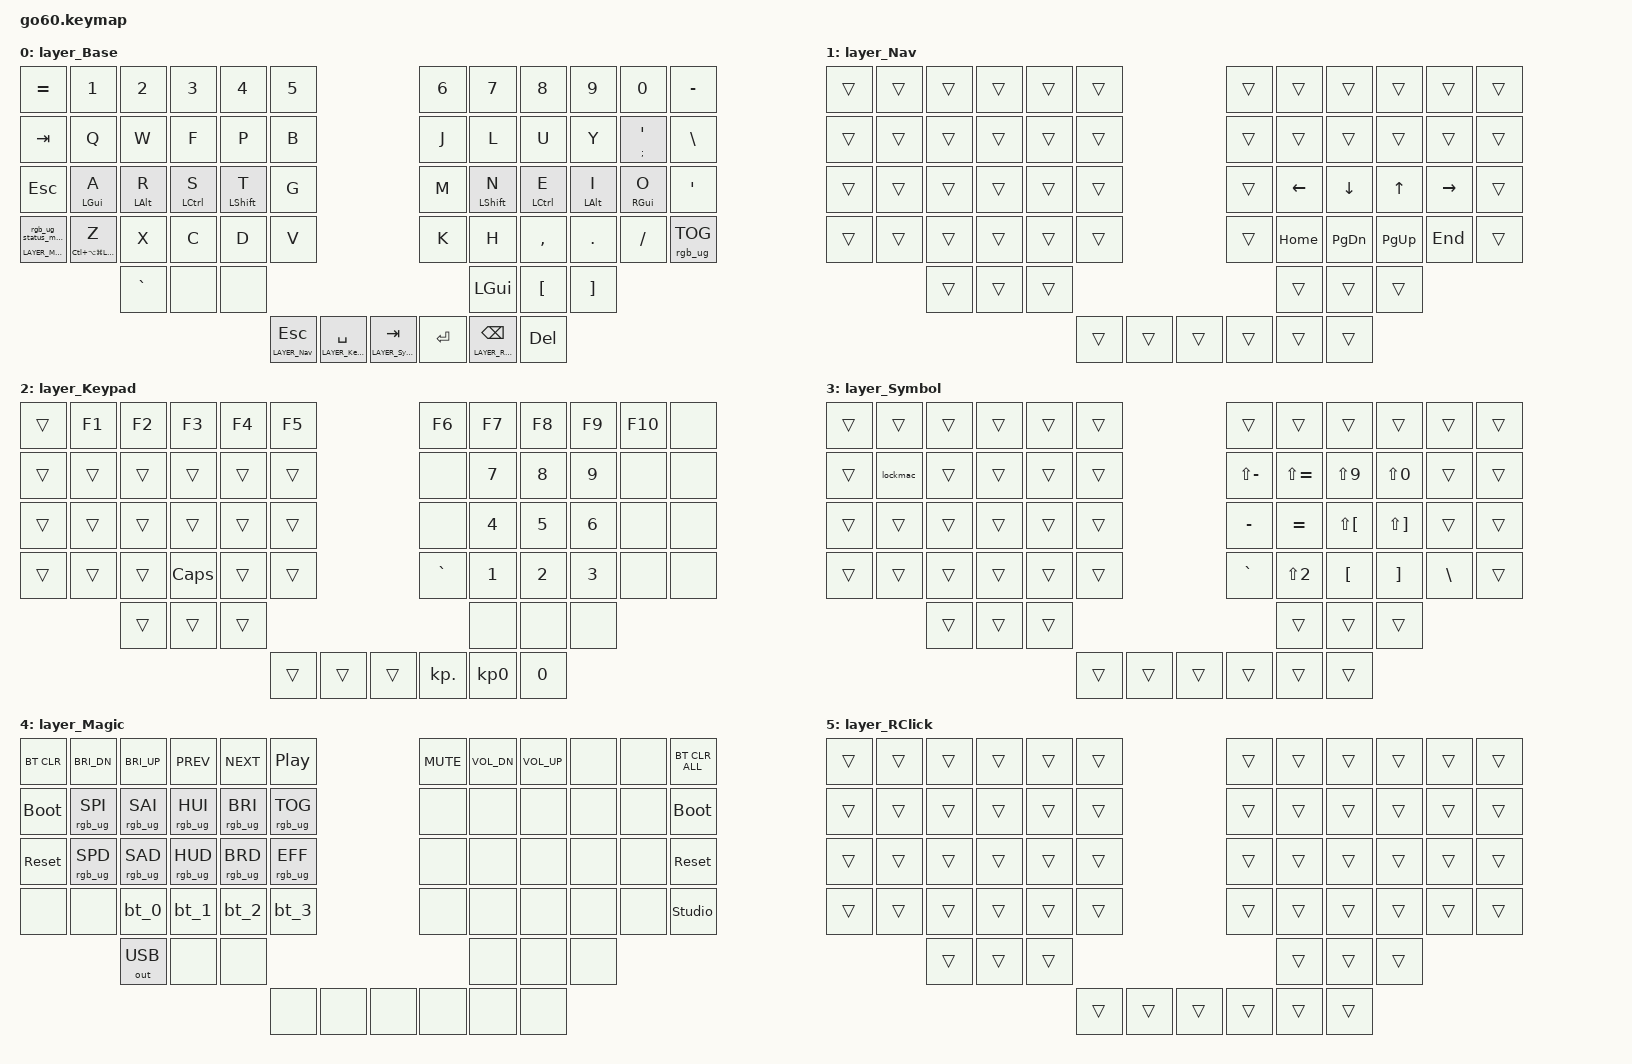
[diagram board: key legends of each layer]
/*
 * Copyright (c) 2020 The ZMK Contributors
 * Copyright (c) 2025 Innaworks Development Limited, trading as MoErgo
 *
 * SPDX-License-Identifier: MIT
 */


/* THIS FILE WAS GENERATED BY GO60 LAYOUT EDITOR
 *
 * This file was generated automatically. You may or may not want to
 * edit it directly.
 */

#include <behaviors.dtsi>

/* Include all behavior includes needed */

#include <dt-bindings/zmk/outputs.h>
#include <dt-bindings/zmk/keys.h>
#include <dt-bindings/zmk/bt.h>
#include <dt-bindings/zmk/rgb.h>

/* Include studio unlock functionality for zmk studio */
#include <behaviors/studio_unlock.dtsi>

#include <input/processors.dtsi>
#include <dt-bindings/zmk/input_transform.h>
#include <zephyr/dt-bindings/input/input-event-codes.h>

/* On demand includes */
#include <dt-bindings/zmk/pointing.h>

/* Helper Macros, based on https://github.com/urob/zmk-helpers/ */

#define ZMK_HELPER_STRINGIFY(x) #x

// Preprocessor mechanism to overload macros, cf. https://stackoverflow.com/a/27051616/6114651
#define VARGS_(_10, _9, _8, _7, _6, _5, _4, _3, _2, _1, N, ...) N
#define VARGS(...) VARGS_(__VA_ARGS__, 10, 9, 8, 7, 6, 5, 4, 3, 2, 1, 0)
#define CONCAT_(a, b) a##b
#define CONCAT(a, b) CONCAT_(a, b)

#define ZMK_BEHAVIOR_CORE_tap_dance  \
    compatible = "zmk,behavior-tap-dance"; \
    #binding-cells = <0>

#define ZMK_BEHAVIOR(name, type, ...) \
    name: name { \
        ZMK_BEHAVIOR_CORE_ ## type; \
        __VA_ARGS__ \
    };

#define ZMK_TAP_DANCE(name, ...) \
    ZMK_BEHAVIOR(name, tap_dance, __VA_ARGS__)

#define ZMK_TD_LAYER(name, layer) \
    ZMK_TAP_DANCE(name, \
        tapping-term-ms = <200>; \
        bindings = <&mo layer>, <&to layer>; \
)




/* Locale-specific keycodes */

#define GB_N2 N2
#define GB_N3 N3
#define GB_N4 N4
#define GB_A A
#define GB_E E
#define GB_I I
#define GB_O O
#define GB_U U
#define GB_POUND BACKSLASH
#define GB_BACKSLASH NON_US_BACKSLASH
#define GB_GRAVE GRAVE
#define GB_APOS SQT



/* Key positions */

#define POS_LH_C6R1 0
#define POS_LH_C5R1 1
#define POS_LH_C4R1 2
#define POS_LH_C3R1 3
#define POS_LH_C2R1 4
#define POS_LH_C1R1 5
#define POS_RH_C1R1 6
#define POS_RH_C2R1 7
#define POS_RH_C3R1 8
#define POS_RH_C4R1 9
#define POS_RH_C5R1 10
#define POS_RH_C6R1 11
#define POS_LH_C6R2 12
#define POS_LH_C5R2 13
#define POS_LH_C4R2 14
#define POS_LH_C3R2 15
#define POS_LH_C2R2 16
#define POS_LH_C1R2 17
#define POS_RH_C1R2 18
#define POS_RH_C2R2 19
#define POS_RH_C3R2 20
#define POS_RH_C4R2 21
#define POS_RH_C5R2 22
#define POS_RH_C6R2 23
#define POS_LH_C6R3 24
#define POS_LH_C5R3 25
#define POS_LH_C4R3 26
#define POS_LH_C3R3 27
#define POS_LH_C2R3 28
#define POS_LH_C1R3 29
#define POS_RH_C1R3 30
#define POS_RH_C2R3 31
#define POS_RH_C3R3 32
#define POS_RH_C4R3 33
#define POS_RH_C5R3 34
#define POS_RH_C6R3 35
#define POS_LH_C6R4 36
#define POS_LH_C5R4 37
#define POS_LH_C4R4 38
#define POS_LH_C3R4 39
#define POS_LH_C2R4 40
#define POS_LH_C1R4 41
#define POS_RH_C1R4 42
#define POS_RH_C2R4 43
#define POS_RH_C3R4 44
#define POS_RH_C4R4 45
#define POS_RH_C5R4 46
#define POS_RH_C6R4 47
#define POS_LH_C4R5 48
#define POS_LH_C3R5 49
#define POS_LH_C2R5 50
#define POS_RH_C2R5 51
#define POS_RH_C3R5 52
#define POS_RH_C4R5 53
#define POS_LH_T1 54
#define POS_LH_T2 55
#define POS_LH_T3 56
#define POS_RH_T3 57
#define POS_RH_T2 58
#define POS_RH_T1 59


#define LEFT_HAND_KEYS \
  POS_LH_C1R1 POS_LH_C2R1 POS_LH_C3R1 POS_LH_C4R1 POS_LH_C5R1 POS_LH_C6R1 \
  POS_LH_C1R2 POS_LH_C2R2 POS_LH_C3R2 POS_LH_C4R2 POS_LH_C5R2 POS_LH_C6R2 \
  POS_LH_C1R3 POS_LH_C2R3 POS_LH_C3R3 POS_LH_C4R3 POS_LH_C5R3 POS_LH_C6R3 \
  POS_LH_C1R4 POS_LH_C2R4 POS_LH_C3R4 POS_LH_C4R4 POS_LH_C5R4 POS_LH_C6R4 \
              POS_LH_C2R5 POS_LH_C3R5 POS_LH_C4R5

#define RIGHT_HAND_KEYS \
  POS_RH_C1R1 POS_RH_C2R1 POS_RH_C3R1 POS_RH_C4R1 POS_RH_C5R1 POS_RH_C6R1 \
  POS_RH_C1R2 POS_RH_C2R2 POS_RH_C3R2 POS_RH_C4R2 POS_RH_C5R2 POS_RH_C6R2 \
  POS_RH_C1R3 POS_RH_C2R3 POS_RH_C3R3 POS_RH_C4R3 POS_RH_C5R3 POS_RH_C6R3 \
  POS_RH_C1R4 POS_RH_C2R4 POS_RH_C3R4 POS_RH_C4R4 POS_RH_C5R4 POS_RH_C6R4 \
              POS_RH_C2R5 POS_RH_C3R5 POS_RH_C4R5

#define THUMB_KEYS \
  POS_LH_T1 POS_LH_T2 POS_LH_T3 \
  POS_RH_T1 POS_RH_T2 POS_RH_T3

/* Environment and metadata defines */
#define KB_TYPE_GLOVE_80 1
#define KB_TYPE_GO_60    2

#define KB_TYPE          KB_TYPE_GO_60
#define EDITOR_HOST_OS   'W'

/* Automatically generated layer name defines */
#define LAYER_Base 0
#define LAYER_Nav 1
#define LAYER_Keypad 2
#define LAYER_Symbol 3
#define LAYER_Magic 4
#define LAYER_RClick 5

/* To deal with the situation where there is no Lower layer, to keep &lower happy */
#ifndef LAYER_Lower
#define LAYER_Lower 0
#endif

/* Generated input processors */
/ {
    input_processors {
        zip_click_to_right_click_mapper: zip_click_to_right_click_mapper {
            compatible = "zmk,input-processor-code-mapper";
            #input-processor-cells = <0>;
            type = <INPUT_EV_KEY>;
            map = <INPUT_BTN_0 INPUT_BTN_1>;
        };
    };
};

/* Custom Device-tree */
&mt {
    tapping-term-ms = <250>;
    flavor = "tap-preferred";
    require-prior-idle-ms = <125>;
    quick-tap-ms = <0>;
};

&lt {
    tapping-term-ms = <250>;
    flavor = "tap-preferred";
    require-prior-idle-ms = <125>;
    quick-tap-ms = <0>;
};

/* Input Listeners */
&cirque_rh_listener {
    input-processors = <&zip_xy_scaler 2 1>;  /* 2× base sensitivity */

    nav_override: nav {
        layers = <LAYER_Nav>;
        input-processors = <&zip_xy_scaler 4 1>;  /* 4× on Nav layer */
    };

    rclick_override: rclick {
        layers = <LAYER_RClick>;
        input-processors = <&zip_xy_scaler 2 1 &zip_click_to_right_click_mapper>;  /* 2× + tap → right-click */
    };
};

&cirque_lh_listener {
    input-processors = <&zip_xy_scaler 7 12>, <&zip_xy_transform INPUT_TRANSFORM_Y_INVERT>, <&zip_xy_to_scroll_mapper>, <&zip_click_to_right_click_mapper>, <&zip_scroll_scaler 1 8>;
};

/* System behavior and macros */
/ {
    behaviors {
        ZMK_TD_LAYER(lower, LAYER_Lower)
    };
};

/ {
    macros {
        rgb_ug_status_macro: rgb_ug_status_macro {
            label = "RGB_UG_STATUS";
            compatible = "zmk,behavior-macro";
            #binding-cells = <0>;
            bindings
                = <&rgb_ug RGB_STATUS>;
        };
    };
};

/ {
#ifdef BT_DISC_CMD
    behaviors {
        bt_0: bt_0 {
            compatible = "zmk,behavior-tap-dance";
            label = "BT_0";
            #binding-cells = <0>;
            tapping-term-ms = <200>;
            bindings = <&bt_select_0>, <&bt BT_DISC 0>;
        };
        bt_1: bt_1 {
            compatible = "zmk,behavior-tap-dance";
            label = "BT_1";
            #binding-cells = <0>;
            tapping-term-ms = <200>;
            bindings = <&bt_select_1>, <&bt BT_DISC 1>;
        };
        bt_2: bt_2 {
            compatible = "zmk,behavior-tap-dance";
            label = "BT_2";
            #binding-cells = <0>;
            tapping-term-ms = <200>;
            bindings = <&bt_select_2>, <&bt BT_DISC 2>;
        };
        bt_3: bt_3 {
            compatible = "zmk,behavior-tap-dance";
            label = "BT_3";
            #binding-cells = <0>;
            tapping-term-ms = <200>;
            bindings = <&bt_select_3>, <&bt BT_DISC 3>;
        };
    };
    macros {
        bt_select_0: bt_select_0 {
            label = "BT_SELECT_0";
            compatible = "zmk,behavior-macro";
            #binding-cells = <0>;
            bindings
                = <&out OUT_BLE>,
                  <&bt BT_SEL 0>;
        };
        bt_select_1: bt_select_1 {
            label = "BT_SELECT_1";
            compatible = "zmk,behavior-macro";
            #binding-cells = <0>;
            bindings
                = <&out OUT_BLE>,
                  <&bt BT_SEL 1>;
        };
        bt_select_2: bt_select_2 {
            label = "BT_SELECT_2";
            compatible = "zmk,behavior-macro";
            #binding-cells = <0>;
            bindings
                = <&out OUT_BLE>,
                  <&bt BT_SEL 2>;
        };
        bt_select_3: bt_select_3 {
            label = "BT_SELECT_3";
            compatible = "zmk,behavior-macro";
            #binding-cells = <0>;
            bindings
                = <&out OUT_BLE>,
                  <&bt BT_SEL 3>;
        };
    };
#else
    macros {
        bt_0: bt_0 {
            label = "BT_0";
            compatible = "zmk,behavior-macro";
            #binding-cells = <0>;
            bindings
                = <&out OUT_BLE>,
                  <&bt BT_SEL 0>;
        };
        bt_1: bt_1 {
            label = "BT_1";
            compatible = "zmk,behavior-macro";
            #binding-cells = <0>;
            bindings
                = <&out OUT_BLE>,
                  <&bt BT_SEL 1>;
        };
        bt_2: bt_2 {
            label = "BT_2";
            compatible = "zmk,behavior-macro";
            #binding-cells = <0>;
            bindings
                = <&out OUT_BLE>,
                  <&bt BT_SEL 2>;
        };
        bt_3: bt_3 {
            label = "BT_3";
            compatible = "zmk,behavior-macro";
            #binding-cells = <0>;
            bindings
                = <&out OUT_BLE>,
                  <&bt BT_SEL 3>;
        };
    };
#endif
};

/ {
    behaviors {
        magic: magic {
            compatible = "zmk,behavior-hold-tap";
            label = "MAGIC_HOLD_TAP";
            #binding-cells = <2>;
            flavor = "tap-preferred";
            tapping-term-ms = <200>;
            bindings = <&mo>, <&rgb_ug_status_macro>;
        };
    };
};


/* Custom Defined Behaviors */
/ {

};

/* Automatically generated macro definitions */
/ {
    macros {

        // lock key for mac os
        lockmac: lockmac {
            label = "&LOCKMAC";
            compatible = "zmk,behavior-macro";
            #binding-cells = <0>;
            bindings = <&kp LC(LG(Q))>;
        };
    };
};

/* Automatically generated behavior definitions */
/ {
    behaviors {


    };
};

/* Automatically generated combos definitions */


/* Automatically generated keymap */
/ {
    keymap {
        compatible = "zmk,keymap";


        layer_Base {
            bindings = <
            &kp EQUAL                   &kp N1      &kp N2       &kp N3       &kp N4  &kp N5                                                                                               &kp N6       &kp N7       &kp N8      &kp N9        &kp N0        &kp MINUS
              &kp TAB                    &kp Q       &kp W        &kp F        &kp P   &kp B                                                                                                &kp J        &kp L        &kp U       &kp Y  &mt SEMI SQT         &kp BSLH
              &kp ESC               &mt LGUI A  &mt LALT R  &mt LCTRL S  &mt LSHFT T   &kp G                                                                                                &kp M  &mt LSHFT N  &mt LCTRL E  &mt LALT I    &mt RGUI O          &kp SQT
 &magic LAYER_Magic 0  &mt LC(LA(LG(LSHFT))) Z       &kp X        &kp C        &kp D   &kp V                                                                                                &kp K        &kp H    &kp COMMA     &kp DOT      &kp FSLH  &rgb_ug RGB_TOG
                                                 &kp GRAVE        &none        &none                                                                                                                  &kp LGUI     &kp LBKT    &kp RBKT
                                                                                              &lt LAYER_Nav ESC  &lt LAYER_Keypad SPACE  &lt LAYER_Symbol TAB  &kp RET  &lt LAYER_RClick BSPC  &kp DEL
            >;
        };

        layer_Nav {
            bindings = <
 &trans  &trans  &trans  &trans  &trans  &trans                                                  &trans    &trans     &trans     &trans     &trans  &trans
 &trans  &trans  &trans  &trans  &trans  &trans                                                  &trans    &trans     &trans     &trans     &trans  &trans
 &trans  &trans  &trans  &trans  &trans  &trans                                                  &trans  &kp LEFT   &kp DOWN     &kp UP  &kp RIGHT  &trans
 &trans  &trans  &trans  &trans  &trans  &trans                                                  &trans  &kp HOME  &kp PG_DN  &kp PG_UP    &kp END  &trans
                 &trans  &trans  &trans                                                                    &trans     &trans     &trans
                                                 &trans  &trans  &trans  &trans  &trans  &trans
            >;
        };

        layer_Keypad {
            bindings = <
 &trans  &kp F1  &kp F2    &kp F3  &kp F4  &kp F5                                                            &kp F6  &kp F7  &kp F8  &kp F9  &kp F10   &none
 &trans  &trans  &trans    &trans  &trans  &trans                                                             &none  &kp N7  &kp N8  &kp N9    &none   &none
 &trans  &trans  &trans    &trans  &trans  &trans                                                             &none  &kp N4  &kp N5  &kp N6    &none   &none
 &trans  &trans  &trans  &kp CAPS  &trans  &trans                                                         &kp GRAVE  &kp N1  &kp N2  &kp N3    &none   &none
                 &trans    &trans  &trans                                                                             &none   &none   &none
                                                   &trans  &trans  &trans  &kp KP_DOT  &kp KP_N0  &kp N0
            >;
        };

        layer_Symbol {
            bindings = <
 &trans    &trans  &trans  &trans  &trans  &trans                                                         &trans         &trans        &trans        &trans    &trans  &trans
 &trans  &lockmac  &trans  &trans  &trans  &trans                                                  &kp LS(MINUS)  &kp LS(EQUAL)    &kp LS(N9)    &kp LS(N0)    &trans  &trans
 &trans    &trans  &trans  &trans  &trans  &trans                                                      &kp MINUS      &kp EQUAL  &kp LS(LBKT)  &kp LS(RBKT)    &trans  &trans
 &trans    &trans  &trans  &trans  &trans  &trans                                                      &kp GRAVE     &kp LS(N2)      &kp LBKT      &kp RBKT  &kp BSLH  &trans
                   &trans  &trans  &trans                                                                                &trans        &trans        &trans
                                                   &trans  &trans  &trans  &trans  &trans  &trans
            >;
        };

        layer_Magic {
            bindings = <
  &bt BT_CLR     &kp C_BRI_DN     &kp C_BRI_UP       &kp C_PREV       &kp C_NEXT         &kp C_PP                                                  &kp C_MUTE  &kp C_VOL_DN  &kp C_VOL_UP   &none   &none  &bt BT_CLR_ALL
 &bootloader  &rgb_ug RGB_SPI  &rgb_ug RGB_SAI  &rgb_ug RGB_HUI  &rgb_ug RGB_BRI  &rgb_ug RGB_TOG                                                       &none         &none         &none   &none   &none     &bootloader
  &sys_reset  &rgb_ug RGB_SPD  &rgb_ug RGB_SAD  &rgb_ug RGB_HUD  &rgb_ug RGB_BRD  &rgb_ug RGB_EFF                                                       &none         &none         &none   &none   &none      &sys_reset
       &none            &none            &bt_0            &bt_1            &bt_2            &bt_3                                                       &none         &none         &none   &none   &none      &studio_unlock
                                  &out OUT_USB            &none            &none                                                                                      &none         &none   &none
                                                                                                    &none   &none   &none   &none   &none   &none
            >;
        };

        layer_RClick {
            bindings = <
 &trans  &trans  &trans  &trans  &trans  &trans                                  &trans  &trans  &trans  &trans  &trans  &trans
 &trans  &trans  &trans  &trans  &trans  &trans                                  &trans  &trans  &trans  &trans  &trans  &trans
 &trans  &trans  &trans  &trans  &trans  &trans                                  &trans  &trans  &trans  &trans  &trans  &trans
 &trans  &trans  &trans  &trans  &trans  &trans                                  &trans  &trans  &trans  &trans  &trans  &trans
                 &trans  &trans  &trans                                                  &trans  &trans  &trans
                                                 &trans  &trans  &trans  &trans  &trans  &trans
            >;
        };

    };
};
